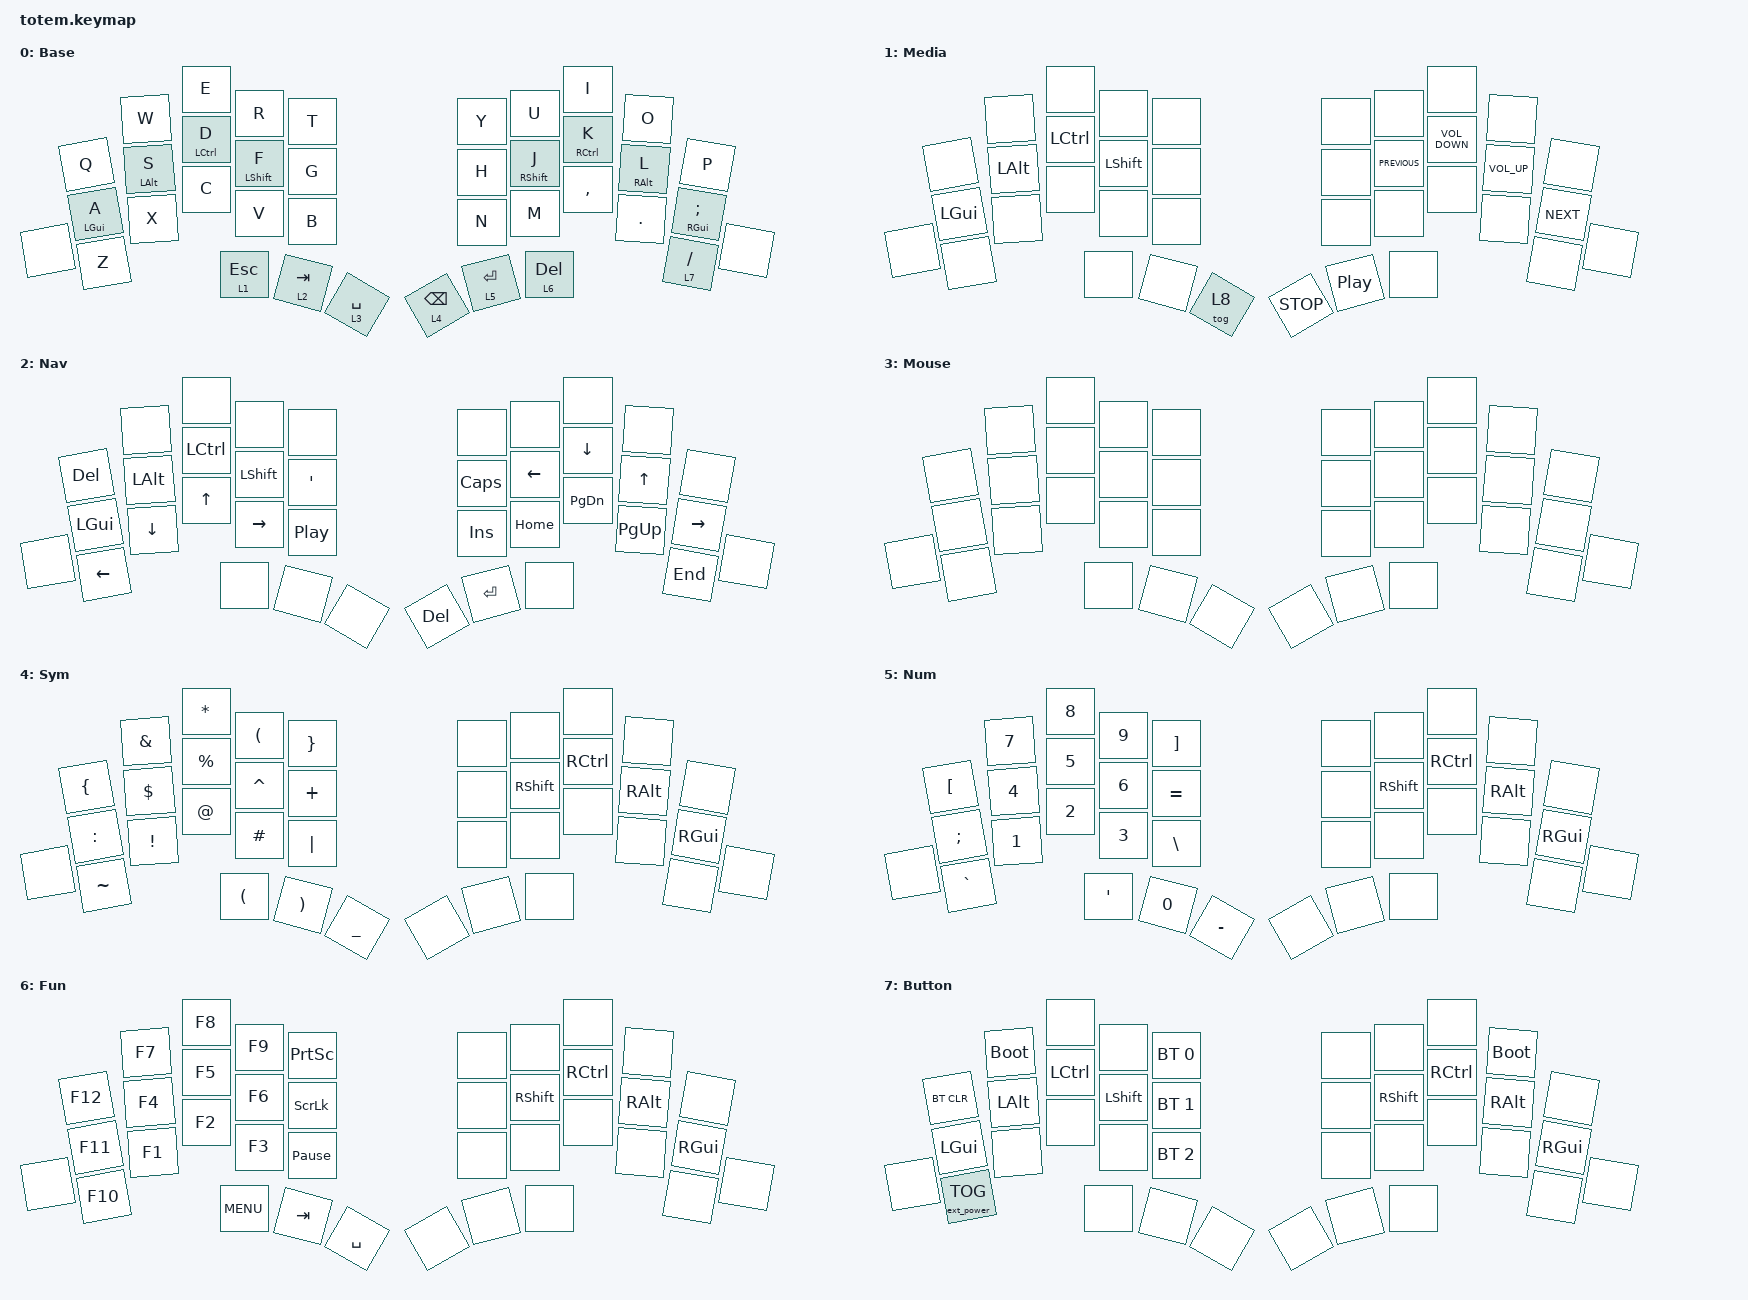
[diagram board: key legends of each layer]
//
//                                                        ▀▀▀▀▀     ▀▀▀▀▀          ▀▀█▀▀
//                                                        ▄▀▀▀▄  ▄  ▄▀▀▀▄  ▄  ▄▀▀▀▄  █  ▄▀▀▀▄
//                                                        █   █  █  █   █  █  █   █  █  █   █
//                                                         ▀▀▀   █   ▀▀▀   █   ▀▀▀   ▀   ▀▀▀
//                                                               █      ▄▄▄█▄▄▄    █   █  
//                                                               ▀      █  █  █     █▄█
//                                                             ▀▀▀▀▀    █  █  █      ▀
//                                                                      ▀  ▀  ▀
//
// ▄▄▄▄▄▄▄▄▄▄▄▄▄▄▄▄▄▄▄▄▄▄▄▄▄▄▄▄▄▄▄▄▄▄▄▄▄▄▄▄▄▄▄▄▄▄▄▄▄▄▄▄▄▄▄▄▄▄▄▄▄▄▄▄▄▄▄▄▄▄▄▄▄▄▄▄▄▄▄▄▄▄▄▄▄▄▄▄▄▄▄▄▄▄▄▄▄▄▄▄▄▄▄▄▄▄▄▄▄▄▄▄▄▄▄▄▄▄▄▄▄▄▄▄▄▄▄▄▄▄▄▄▄▄▄▄▄▄▄▄▄▄▄▄▄▄▄▄▄

#include <behaviors.dtsi>
#include <dt-bindings/zmk/keys.h>
#include <dt-bindings/zmk/bt.h>
#include <dt-bindings/zmk/outputs.h>
#include <dt-bindings/zmk/ext_power.h>

#define Base        0
#define Media       1
#define Nav         2
#define Mouse       3
#define Sym         4
#define Num         5
#define Fun         6
#define Button      7

&mt {
    quick-tap-ms = <100>;
    global-quick-tap;
    flavor = "tap-preferred";
    tapping-term-ms = <170>;
};

&lt {
    tapping-term-ms = <240>;
    flavor = "balanced";
    quick-tap-ms = <150>;
};

/ {

    behaviors {
        hm: homerow_mods {
            compatible = "zmk,behavior-hold-tap";
            label = "HOMEROW_MODS";
            #binding-cells = <2>;
            flavor = "tap-preferred";
            tapping-term-ms = <240>;
            quick-tap-ms = <150>;
            global-quick-tap;
            bindings =
                <&kp>,
                <&kp>;
        };
    };

    keymap {
        compatible = "zmk,keymap";

    Base {
        label = "Base";
        bindings = <
                &kp Q       &kp W       &kp E         &kp R         &kp T                         &kp Y        &kp U         &kp I       &kp O               &kp P               
                &hm LGUI A  &hm LALT S  &hm LCTRL D   &hm LSHIFT F  &kp G                         &kp H  &hm RSHFT J   &hm RCTRL K  &hm RALT L  &hm RGUI SEMICOLON  
        &none  &kp Z       &kp X       &kp C         &kp V         &kp B                         &kp N        &kp M     &kp COMMA     &kp DOT         &lt 7 SLASH  &none
                                        &lt 1 ESCAPE  &lt 2 TAB     &lt 3 SPACE         &lt 4 BACKSPACE  &lt 5 ENTER  &lt 6 DELETE
        >;
    };

    Media {
        label = "Media";
        bindings = <
                &none    &none    &none     &none      &none               &none            &none             &none           &none      &none  
                &kp LGUI  &kp LALT  &kp LCTRL  &kp LSHIFT  &none               &none    &kp C_PREVIOUS  &kp C_VOLUME_DOWN  &kp C_VOLUME_UP  &kp C_NEXT  
        &none  &none    &none    &none     &none      &none               &none            &none             &none           &none      &none  &none
                                    &none     &none      &tog 8           &kp C_STOP  &kp C_PLAY_PAUSE             &none  
        >;
    };

    Nav {
        label = "Nav";
        bindings = <
                &kp DELETE    &none    &none     &none      &none                       &none     &none         &none       &none       &none  
                &kp LEFT_GUI  &kp LALT  &kp LCTRL  &kp LSHIFT  &kp SQT                    &kp CAPS   &kp LEFT       &kp DOWN       &kp UP    &kp RIGHT  
        &none  &kp LEFT      &kp DOWN  &kp UP     &kp RIGHT   &kp C_PLAY_PAUSE         &kp INSERT   &kp HOME  &kp PAGE_DOWN  &kp PAGE_UP      &kp END  &none
                                        &none     &none      &none                   &kp DELETE  &kp ENTER         &none
        >;
    };

    Mouse {
        label = "Mouse";
        bindings = <
                &none  &none  &none  &none  &none          &none  &none  &none  &none  &none  
                &none  &none  &none  &none  &none          &none  &none  &none  &none  &none  
        &none  &none  &none  &none  &none  &none          &none  &none  &none  &none  &none  &none
                                &none  &none  &none          &none  &none  &none
        >;
    };

    Sym {
        label = "Sym";
        bindings = <
                &kp LEFT_BRACE  &kp AMPERSAND  &kp ASTERISK         &kp LEFT_PARENTHESIS   &kp RIGHT_BRACE       &none      &none     &none    &none    &none  
                &kp COLON       &kp DOLLAR     &kp PERCENT          &kp CARET              &kp PLUS              &none  &kp RSHIFT  &kp RCTRL  &kp RALT  &kp RGUI  
        &none  &kp TILDE       &kp EXCL       &kp AT               &kp HASH               &kp PIPE              &none      &none     &none    &none    &none  &none
                                              &kp LEFT_PARENTHESIS  &kp RIGHT_PARENTHESIS  &kp UNDERSCORE        &none      &none     &none   
        >;
    };

    Num {
        label = "Num";
        bindings = <
                &kp LEFT_BRACKET  &kp NUMBER_7  &kp NUMBER_8  &kp NUMBER_9  &kp RIGHT_BRACKET       &none      &none     &none    &none    &none  
                &kp SEMICOLON     &kp NUMBER_4  &kp NUMBER_5  &kp NUMBER_6  &kp EQUAL               &none  &kp RSHIFT  &kp RCTRL  &kp RALT  &kp RGUI  
        &none  &kp GRAVE         &kp NUMBER_1  &kp NUMBER_2  &kp NUMBER_3  &kp BACKSLASH           &none      &none     &none    &none    &none  &none
                                                &kp SQT       &kp NUMBER_0  &kp MINUS               &none      &none     &none
        >;
    };

    Fun {
        label = "Fun";
        bindings = <
                &kp F12     &kp F7   &kp F8      &kp F9   &kp PRINTSCREEN          &none      &none     &none    &none    &none  
                &kp F11     &kp F4   &kp F5      &kp F6   &kp SCROLLLOCK           &none  &kp RSHIFT  &kp RCTRL  &kp RALT  &kp RGUI  
        &none  &kp F10     &kp F1   &kp F2      &kp F3   &kp PAUSE_BREAK          &none      &none     &none    &none    &none  &none
                                     &kp C_MENU  &kp TAB  &kp SPACE                &none      &none     &none
        >;
    };

    Button {
        label = "Button";
        bindings = <
                &bt BT_CLR         &bootloader  &none     &none      &bt BT_SEL 0         &none      &none     &none  &bootloader    &none  
                &kp LGUI           &kp LALT     &kp LCTRL  &kp LSHIFT  &bt BT_SEL 1         &none  &kp RSHIFT  &kp RCTRL     &kp RALT  &kp RGUI  
        &none  &ext_power EP_TOG  &none       &none     &none      &bt BT_SEL 2         &none      &none     &none       &none    &none  &none
                                                &none     &none      &none               &none      &none     &none
        >;
    };
  };
};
